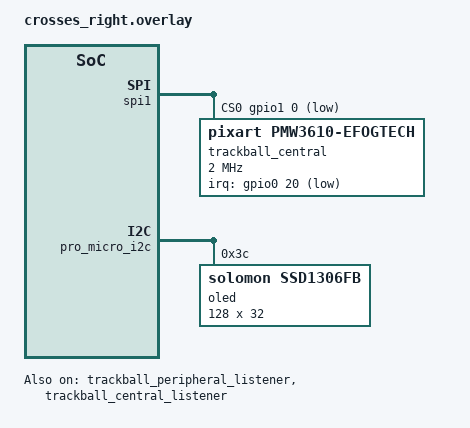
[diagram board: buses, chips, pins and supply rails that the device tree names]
/*
 * Copyright (c) 2025 Vincent Franco
 * SPDX-License-Identifier: MIT
 */

#include "crosses.dtsi"
#include <zephyr/dt-bindings/input/input-event-codes.h>

&default_transform {
  col-offset = <6>;
};

&forty_two_transform {
  col-offset = <6>;
};

&thirty_six_transform {
  col-offset = <6>;
};

&kscan0 {
  col-gpios
    = <&pro_micro 14 GPIO_ACTIVE_HIGH>
    , <&pro_micro 16 GPIO_ACTIVE_HIGH>
    , <&pro_micro 10 GPIO_ACTIVE_HIGH>
    , <&pro_micro 15 GPIO_ACTIVE_HIGH>
    , <&pro_micro 18 GPIO_ACTIVE_HIGH>
    , <&pro_micro  0 GPIO_ACTIVE_HIGH>
    ;
};

&trackball_peripheral_listener {
  status = "okay";
};

&spi1 {
  cs-gpios = <&gpio1 0 GPIO_ACTIVE_LOW>;

  trackball_central: trackball_central@0 {
    status = "okay";
    compatible = "pixart,pmw3610-efogtech";
    reg = <0>;
    spi-max-frequency = <2000000>;
    irq-gpios = <&gpio0 20 (GPIO_ACTIVE_LOW | GPIO_PULL_UP)>;
    cpi = <800>;
    xy-swap;
    x-invert;
    y-invert;
    evt-type = <INPUT_EV_REL>;
    x-input-code = <INPUT_REL_X>;
    y-input-code = <INPUT_REL_Y>;
    force-awake;
    /* keep the sensor awake while ZMK activity state is ACTIVE,
        fallback to normal downshift mode after ZMK goes into IDLE / SLEEP mode.
        thus, the sensor would be a `wakeup-source` */
  };
};

// Overrides for the input listener node
&trackball_central_listener {
  status = "okay";
  device = <&trackball_central>;
	input-processors = <&zip_ble_report_rate_limit>;
};

&pro_micro_i2c {
    status = "okay";

    oled: ssd1306@3c {
        compatible = "solomon,ssd1306fb";
        reg = <0x3c>;
        width = <128>;
        height = <32>;
        segment-offset = <0>;
        page-offset = <0>;
        display-offset = <0>;
        multiplex-ratio = <31>;
        segment-remap;
        com-invdir;
        com-sequential;
        inversion-on;
        prechargep = <0x22>;
    };
};
